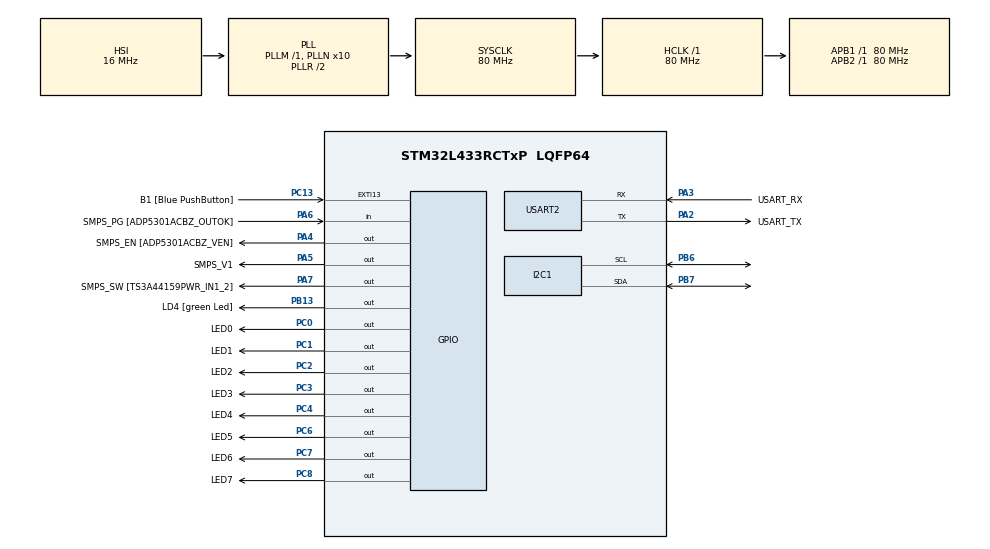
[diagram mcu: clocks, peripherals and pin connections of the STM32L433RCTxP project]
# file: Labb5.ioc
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I2C1.Timing=0x10D19CE4
Mcu.Family=STM32L4
Mcu.Name=STM32L433RCTxP
Mcu.Package=LQFP64
NVIC.PriorityGroup=NVIC_PRIORITYGROUP_4
PA13\ (JTMS-SWDIO).GPIO_Label=TMS
PA13\ (JTMS-SWDIO).Mode=Serial_Wire
PA13\ (JTMS-SWDIO).Signal=SYS_JTMS-SWDIO
PA14\ (JTCK-SWCLK).GPIO_Label=TCK
PA14\ (JTCK-SWCLK).Mode=Serial_Wire
PA14\ (JTCK-SWCLK).Signal=SYS_JTCK-SWCLK
PA2.GPIO_Label=USART_TX
PA2.GPIO_Mode=GPIO_MODE_AF_PP
PA2.GPIO_PuPd=GPIO_NOPULL
PA2.GPIO_Speed=GPIO_SPEED_FREQ_VERY_HIGH
PA2.Mode=Asynchronous
PA2.Signal=USART2_TX
PA3.GPIO_Label=USART_RX
PA3.GPIO_Mode=GPIO_MODE_AF_PP
PA3.GPIO_PuPd=GPIO_NOPULL
PA3.GPIO_Speed=GPIO_SPEED_FREQ_VERY_HIGH
PA3.Mode=Asynchronous
PA3.Signal=USART2_RX
PA4.GPIO_Label=SMPS_EN [ADP5301ACBZ_VEN]
PA4.Signal=GPIO_Output
PA5.GPIO_Label=SMPS_V1
PA5.GPIO_ModeDefaultOutputPP=GPIO_MODE_OUTPUT_PP
PA5.GPIO_PuPd=GPIO_NOPULL
PA5.GPIO_Speed=GPIO_SPEED_FREQ_LOW
PA5.Signal=GPIO_Output
PA6.GPIO_Label=SMPS_PG [ADP5301ACBZ_OUTOK]
PA6.GPIO_PuPd=GPIO_PULLUP
PA6.Signal=GPIO_Input
PA7.GPIO_Label=SMPS_SW [TS3A44159PWR_IN1_2]
PA7.Signal=GPIO_Output
PB13.GPIO_Label=LD4 [green Led]
PB13.Signal=GPIO_Output
PB3\ (JTDO-TRACESWO).GPIO_Label=SWO
PB3\ (JTDO-TRACESWO).Signal=SYS_JTDO-SWO
PB6.Mode=I2C
PB6.Signal=I2C1_SCL
PB7.Mode=I2C
PB7.Signal=I2C1_SDA
PC0.GPIO_Label=LED0
PC0.Signal=GPIO_Output
PC1.GPIO_Label=LED1
PC1.Signal=GPIO_Output
PC13.GPIO_Label=B1 [Blue PushButton]
PC13.GPIO_ModeDefaultEXTI=GPIO_MODE_IT_FALLING
PC13.GPIO_PuPd=GPIO_NOPULL
PC13.Signal=GPXTI13
PC14-OSC32_IN\ (PC14).Mode=LSE-External-Oscillator
PC14-OSC32_IN\ (PC14).Signal=RCC_OSC32_IN
PC15-OSC32_OUT\ (PC15).Mode=LSE-External-Oscillator
PC15-OSC32_OUT\ (PC15).Signal=RCC_OSC32_OUT
PC2.GPIO_Label=LED2
PC2.Signal=GPIO_Output
PC3.GPIO_Label=LED3
PC3.Signal=GPIO_Output
PC4.GPIO_Label=LED4
PC4.Signal=GPIO_Output
PC6.GPIO_Label=LED5
PC6.Signal=GPIO_Output
PC7.GPIO_Label=LED6
PC7.Signal=GPIO_Output
PC8.GPIO_Label=LED7
PC8.Signal=GPIO_Output
PH0-OSC_IN\ (PH0).GPIO_Label=MCO
PH0-OSC_IN\ (PH0).Mode=HSE-External-Clock-Source
PH0-OSC_IN\ (PH0).Signal=RCC_OSC_IN
PH1-OSC_OUT\ (PH1).Signal=RCC_OSC_OUT
ProjectManager.HeapSize=0x200
ProjectManager.StackSize=0x400
ProjectManager.TargetToolchain=STM32CubeIDE
RCC.ADCFreq_Value=64000000
RCC.AHBFreq_Value=80000000
RCC.APB1Freq_Value=80000000
RCC.APB1TimFreq_Value=80000000
RCC.APB2Freq_Value=80000000
RCC.APB2TimFreq_Value=80000000
RCC.CortexFreq_Value=80000000
RCC.HCLKFreq_Value=80000000
RCC.HSE_VALUE=8000000
RCC.HSI48_VALUE=48000000
RCC.HSI_VALUE=16000000
RCC.MSI_VALUE=4000000
RCC.PLLN=10
RCC.PLLSourceVirtual=RCC_PLLSOURCE_HSI
RCC.PREFETCH_ENABLE=1
RCC.SYSCLKFreq_VALUE=80000000
RCC.SYSCLKSource=RCC_SYSCLKSOURCE_PLLCLK
RCC.USBFreq_Value=64000000
RCC.VCOOutputFreq_Value=160000000
USART2.VirtualMode-Asynchronous=VM_ASYNC
board=NUCLEO-L433RC-P

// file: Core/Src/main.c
/* USER CODE BEGIN Header */
/**
 ******************************************************************************
 * @file           : main.c
 * @brief          : Main program body
 ******************************************************************************
 * @attention
 *
 * Copyright (c) 2026 STMicroelectronics.
 * All rights reserved.
 *
 * This software is licensed under terms that can be found in the LICENSE file
 * in the root directory of this software component.
 * If no LICENSE file comes with this software, it is provided AS-IS.
 *
 ******************************************************************************
 */
/* USER CODE END Header */
#include "main.h"

/* USER CODE BEGIN Includes */
#include <math.h>
#include <stdio.h>

/* USER CODE END Includes */

I2C_HandleTypeDef hi2c1;

UART_HandleTypeDef huart2;

/* USER CODE BEGIN PV */
#define MPU_ADDR (0x68 << 1)

#define WHO_AM_I_REG     0x75
#define PWR_MGMT_1_REG   0x6B
#define SMPLRT_DIV_REG   0x19
#define ACCEL_CONFIG_REG 0x1C
#define ACCEL_XOUT_H_REG 0x3B
#define ACCEL_XOUT_L_REG    0x3C
#define ACCEL_YOUT_H_REG    0x3D
#define ACCEL_YOUT_L_REG    0x3E
#define ACCEL_ZOUT_H_REG    0x3F
#define ACCEL_ZOUT_L_REG    0x40

#define RAD2DEG        57.2957795f
#define MAX_ANGLE_DEG  20.0f

float angle_offset = 0.0f;
static volatile uint8_t calibrate_request = 0;

uint16_t leds[8] = {
		LED0_Pin,
		LED1_Pin,
		LED2_Pin,
		LED3_Pin,
		LED4_Pin,
		LED5_Pin,
		LED6_Pin,
		LED7_Pin
};

/* USER CODE END PV */

void SystemClock_Config(void);
static void MX_GPIO_Init(void);
static void MX_USART2_UART_Init(void);
static void MX_I2C1_Init(void);

/* USER CODE BEGIN 0 */
HAL_StatusTypeDef MPU6050_WriteRegister(uint8_t reg, uint8_t data){
	return HAL_I2C_Mem_Write(&hi2c1, MPU_ADDR, reg, I2C_MEMADD_SIZE_8BIT, &data, 1, 100);
}

HAL_StatusTypeDef MPU6050_ReadRegister(uint8_t reg, uint8_t *data)
{
	return HAL_I2C_Mem_Read(&hi2c1, MPU_ADDR, reg, I2C_MEMADD_SIZE_8BIT, data, 1, 100);
}

HAL_StatusTypeDef MPU6050_ReadRegisters(uint8_t start_reg, uint8_t *buffer, uint8_t length)
{
	return HAL_I2C_Mem_Read(&hi2c1, MPU_ADDR, start_reg, I2C_MEMADD_SIZE_8BIT, buffer, length, 100);
}

HAL_StatusTypeDef MPU6050_Init(void)
{
	uint8_t check;

	if (MPU6050_ReadRegister(WHO_AM_I_REG, &check) != HAL_OK)
		return HAL_ERROR;

	if (check != 0x68)
		return HAL_ERROR;

	if (MPU6050_WriteRegister(PWR_MGMT_1_REG, 0x00) != HAL_OK)
		return HAL_ERROR;

	MPU6050_WriteRegister(SMPLRT_DIV_REG, 0x07);

	MPU6050_WriteRegister(ACCEL_CONFIG_REG, 0x00);

	return HAL_OK;
}

void HAL_GPIO_EXTI_Callback(uint16_t GPIO_Pin)
{
	if (GPIO_Pin == B1_Pin)
	{
		calibrate_request = 1;
	}
}

static void AllLeds_Off(void)
{
	HAL_GPIO_WritePin(GPIOC,
			LED0_Pin|LED1_Pin|LED2_Pin|LED3_Pin|
			LED4_Pin|LED5_Pin|LED6_Pin|LED7_Pin,
			GPIO_PIN_RESET);
}

static void Led_SetByIndex(int idx)
{
	switch (idx)
	{
	case 0: HAL_GPIO_WritePin(GPIOC, LED0_Pin, GPIO_PIN_SET); break;
	case 1: HAL_GPIO_WritePin(GPIOC, LED1_Pin, GPIO_PIN_SET); break;
	case 2: HAL_GPIO_WritePin(GPIOC, LED2_Pin, GPIO_PIN_SET); break;
	case 3: HAL_GPIO_WritePin(GPIOC, LED3_Pin, GPIO_PIN_SET); break;
	case 4: HAL_GPIO_WritePin(GPIOC, LED4_Pin, GPIO_PIN_SET); break;
	case 5: HAL_GPIO_WritePin(GPIOC, LED5_Pin, GPIO_PIN_SET); break;
	case 6: HAL_GPIO_WritePin(GPIOC, LED6_Pin, GPIO_PIN_SET); break;
	case 7: HAL_GPIO_WritePin(GPIOC, LED7_Pin, GPIO_PIN_SET); break;
	default: break;
	}
}

static void Uart_PrintAngle(float angle_deg)
{
	char msg[64];
	int len = snprintf(msg, sizeof(msg), "Angle: %.2f deg\r\n", angle_deg);
	if (len > 0)
	{
		(void)HAL_UART_Transmit(&huart2, (uint8_t*)msg, (uint16_t)len, 100);
	}
}

/* USER CODE END 0 */

int main(void)
{

	/* MCU Configuration--------------------------------------------------------*/

	/* Reset of all peripherals, Initializes the Flash interface and the Systick. */
	HAL_Init();

	/* Configure the system clock */
	SystemClock_Config();

	/* Initialize all configured peripherals */
	MX_GPIO_Init();
	MX_USART2_UART_Init();
	MX_I2C1_Init();

	/* Infinite loop */
	/* USER CODE BEGIN WHILE */
	if (MPU6050_Init() != HAL_OK)
	{
		const char *err = "MPU6050 init FAILED\r\n";
		(void)HAL_UART_Transmit(&huart2, (uint8_t*)err, (uint16_t)strlen(err), 100);
		Error_Handler();
	}
	calibrate_request = 1;

	while (1)
	{
		uint8_t b[6];
		int16_t ay, az;

		if (MPU6050_ReadRegisters(ACCEL_XOUT_H_REG, b, 6) == HAL_OK)
		{
			/* b[0..1]=ax, b[2..3]=ay, b[4..5]=az */
			ay = (int16_t)((b[2] << 8) | b[3]);
			az = (int16_t)((b[4] << 8) | b[5]);

			/* Säkrare än atan(ay/az) */
			float angle = atan2f((float)ay, (float)az) * RAD2DEG;

			/* Kalibrering på knapptryck */
			if (calibrate_request)
			{
				angle_offset = angle;
				calibrate_request = 0;
			}

			angle -= angle_offset;

			/* Logga till terminal */
			Uart_PrintAngle(angle);

			/* LED-visualisering */
			AllLeds_Off();

			float abs_angle = fabsf(angle);

			if (abs_angle < 1.0f)
			{
				/* mitten */
				HAL_GPIO_WritePin(GPIOC, LED3_Pin, GPIO_PIN_SET);
				HAL_GPIO_WritePin(GPIOC, LED4_Pin, GPIO_PIN_SET);
			}
			else
			{
				/* clamp till ±MAX_ANGLE_DEG */
				if (angle >  MAX_ANGLE_DEG) angle =  MAX_ANGLE_DEG;
				if (angle < -MAX_ANGLE_DEG) angle = -MAX_ANGLE_DEG;

				/* map [-MAX..+MAX] -> [0..7] */
				int idx = (int)((angle + MAX_ANGLE_DEG) * 7.0f / (2.0f * MAX_ANGLE_DEG));

				if (idx < 0) idx = 0;
				if (idx > 7) idx = 7;

				Led_SetByIndex(idx);
			}
		}

		/* 5 Hz */
		HAL_Delay(200);

		/* USER CODE END WHILE */

	}
}

void SystemClock_Config(void)
{
	RCC_OscInitTypeDef RCC_OscInitStruct = {0};
	RCC_ClkInitTypeDef RCC_ClkInitStruct = {0};

	/** Configure the main internal regulator output voltage
	 */
	if (HAL_PWREx_ControlVoltageScaling(PWR_REGULATOR_VOLTAGE_SCALE1) != HAL_OK)
	{
		Error_Handler();
	}

	/** Initializes the RCC Oscillators according to the specified parameters
	 * in the RCC_OscInitTypeDef structure.
	 */
	RCC_OscInitStruct.OscillatorType = RCC_OSCILLATORTYPE_HSI;
	RCC_OscInitStruct.HSIState = RCC_HSI_ON;
	RCC_OscInitStruct.HSICalibrationValue = RCC_HSICALIBRATION_DEFAULT;
	RCC_OscInitStruct.PLL.PLLState = RCC_PLL_ON;
	RCC_OscInitStruct.PLL.PLLSource = RCC_PLLSOURCE_HSI;
	RCC_OscInitStruct.PLL.PLLM = 1;
	RCC_OscInitStruct.PLL.PLLN = 10;
	RCC_OscInitStruct.PLL.PLLP = RCC_PLLP_DIV7;
	RCC_OscInitStruct.PLL.PLLQ = RCC_PLLQ_DIV2;
	RCC_OscInitStruct.PLL.PLLR = RCC_PLLR_DIV2;
	if (HAL_RCC_OscConfig(&RCC_OscInitStruct) != HAL_OK)
	{
		Error_Handler();
	}

	/** Initializes the CPU, AHB and APB buses clocks
	 */
	RCC_ClkInitStruct.ClockType = RCC_CLOCKTYPE_HCLK|RCC_CLOCKTYPE_SYSCLK
			|RCC_CLOCKTYPE_PCLK1|RCC_CLOCKTYPE_PCLK2;
	RCC_ClkInitStruct.SYSCLKSource = RCC_SYSCLKSOURCE_PLLCLK;
	RCC_ClkInitStruct.AHBCLKDivider = RCC_SYSCLK_DIV1;
	RCC_ClkInitStruct.APB1CLKDivider = RCC_HCLK_DIV1;
	RCC_ClkInitStruct.APB2CLKDivider = RCC_HCLK_DIV1;

	if (HAL_RCC_ClockConfig(&RCC_ClkInitStruct, FLASH_LATENCY_4) != HAL_OK)
	{
		Error_Handler();
	}
}

static void MX_I2C1_Init(void)
{

	hi2c1.Instance = I2C1;
	hi2c1.Init.Timing = 0x10D19CE4;
	hi2c1.Init.OwnAddress1 = 0;
	hi2c1.Init.AddressingMode = I2C_ADDRESSINGMODE_7BIT;
	hi2c1.Init.DualAddressMode = I2C_DUALADDRESS_DISABLE;
	hi2c1.Init.OwnAddress2 = 0;
	hi2c1.Init.OwnAddress2Masks = I2C_OA2_NOMASK;
	hi2c1.Init.GeneralCallMode = I2C_GENERALCALL_DISABLE;
	hi2c1.Init.NoStretchMode = I2C_NOSTRETCH_DISABLE;
	if (HAL_I2C_Init(&hi2c1) != HAL_OK)
	{
		Error_Handler();
	}

	/** Configure Analogue filter
	 */
	if (HAL_I2CEx_ConfigAnalogFilter(&hi2c1, I2C_ANALOGFILTER_ENABLE) != HAL_OK)
	{
		Error_Handler();
	}

	/** Configure Digital filter
	 */
	if (HAL_I2CEx_ConfigDigitalFilter(&hi2c1, 0) != HAL_OK)
	{
		Error_Handler();
	}

}

static void MX_USART2_UART_Init(void)
{

	huart2.Instance = USART2;
	huart2.Init.BaudRate = 115200;
	huart2.Init.WordLength = UART_WORDLENGTH_8B;
	huart2.Init.StopBits = UART_STOPBITS_1;
	huart2.Init.Parity = UART_PARITY_NONE;
	huart2.Init.Mode = UART_MODE_TX_RX;
	huart2.Init.HwFlowCtl = UART_HWCONTROL_NONE;
	huart2.Init.OverSampling = UART_OVERSAMPLING_16;
	huart2.Init.OneBitSampling = UART_ONE_BIT_SAMPLE_DISABLE;
	huart2.AdvancedInit.AdvFeatureInit = UART_ADVFEATURE_NO_INIT;
	if (HAL_UART_Init(&huart2) != HAL_OK)
	{
		Error_Handler();
	}

}

static void MX_GPIO_Init(void)
{
	GPIO_InitTypeDef GPIO_InitStruct = {0};

	/* GPIO Ports Clock Enable */
	__HAL_RCC_GPIOC_CLK_ENABLE();
	__HAL_RCC_GPIOH_CLK_ENABLE();
	__HAL_RCC_GPIOA_CLK_ENABLE();
	__HAL_RCC_GPIOB_CLK_ENABLE();

	/*Configure GPIO pin Output Level */
	HAL_GPIO_WritePin(GPIOC, LED0_Pin|LED1_Pin|LED2_Pin|LED3_Pin
			|LED4_Pin|LED5_Pin|LED6_Pin|LED7_Pin, GPIO_PIN_RESET);

	/*Configure GPIO pin Output Level */
	HAL_GPIO_WritePin(GPIOA, SMPS_EN_Pin|SMPS_V1_Pin|SMPS_SW_Pin, GPIO_PIN_RESET);

	/*Configure GPIO pin Output Level */
	HAL_GPIO_WritePin(LD4_GPIO_Port, LD4_Pin, GPIO_PIN_RESET);

	/*Configure GPIO pin : B1_Pin */
	GPIO_InitStruct.Pin = B1_Pin;
	GPIO_InitStruct.Mode = GPIO_MODE_IT_FALLING;
	GPIO_InitStruct.Pull = GPIO_NOPULL;
	HAL_GPIO_Init(B1_GPIO_Port, &GPIO_InitStruct);

	/*Configure GPIO pins : LED0_Pin LED1_Pin LED2_Pin LED3_Pin
                           LED4_Pin LED5_Pin LED6_Pin LED7_Pin */
	GPIO_InitStruct.Pin = LED0_Pin|LED1_Pin|LED2_Pin|LED3_Pin
			|LED4_Pin|LED5_Pin|LED6_Pin|LED7_Pin;
	GPIO_InitStruct.Mode = GPIO_MODE_OUTPUT_PP;
	GPIO_InitStruct.Pull = GPIO_NOPULL;
	GPIO_InitStruct.Speed = GPIO_SPEED_FREQ_LOW;
	HAL_GPIO_Init(GPIOC, &GPIO_InitStruct);

	/*Configure GPIO pins : SMPS_EN_Pin SMPS_V1_Pin SMPS_SW_Pin */
	GPIO_InitStruct.Pin = SMPS_EN_Pin|SMPS_V1_Pin|SMPS_SW_Pin;
	GPIO_InitStruct.Mode = GPIO_MODE_OUTPUT_PP;
	GPIO_InitStruct.Pull = GPIO_NOPULL;
	GPIO_InitStruct.Speed = GPIO_SPEED_FREQ_LOW;
	HAL_GPIO_Init(GPIOA, &GPIO_InitStruct);

	/*Configure GPIO pin : SMPS_PG_Pin */
	GPIO_InitStruct.Pin = SMPS_PG_Pin;
	GPIO_InitStruct.Mode = GPIO_MODE_INPUT;
	GPIO_InitStruct.Pull = GPIO_PULLUP;
	HAL_GPIO_Init(SMPS_PG_GPIO_Port, &GPIO_InitStruct);

	/*Configure GPIO pin : LD4_Pin */
	GPIO_InitStruct.Pin = LD4_Pin;
	GPIO_InitStruct.Mode = GPIO_MODE_OUTPUT_PP;
	GPIO_InitStruct.Pull = GPIO_NOPULL;
	GPIO_InitStruct.Speed = GPIO_SPEED_FREQ_LOW;
	HAL_GPIO_Init(LD4_GPIO_Port, &GPIO_InitStruct);

}

void Error_Handler(void)
{
	__disable_irq();
	while (1)
	{
	}
}
